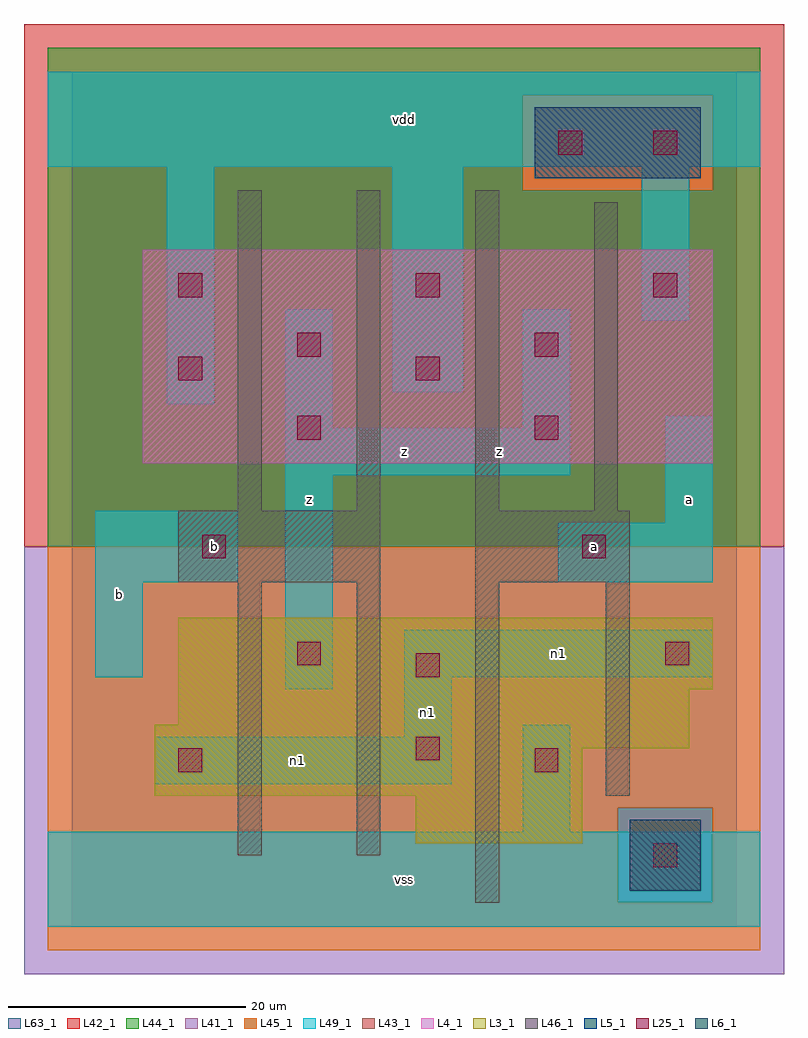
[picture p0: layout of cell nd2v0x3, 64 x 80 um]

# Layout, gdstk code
import gdstk
lib = gdstk.Library(unit=1e-6, precision=1e-09)
def R(c, l, rs):  # rectangles x0, y0, x1, y1
    for r in rs: c.add(gdstk.rectangle(r[:2], r[2:], *l))
def A(c, l, x, y, w, h, nx, ny, dx, dy):  # array of equal rectangles
    R(c, l, [(x+i*dx, y+j*dy, x+i*dx+w, y+j*dy+h) for i in range(nx) for j in range(ny)])
L3_1 = (3, 1)
L4_1 = (4, 1)
L5_1 = (5, 1)
L6_1 = (6, 1)
L25_1 = (25, 1)
L41_1 = (41, 1)
L42_1 = (42, 1)
L43_1 = (43, 1)
L44_1 = (44, 1)
L45_1 = (45, 1)
L46_1 = (46, 1)
L49_1 = (49, 1)
L63_1 = (63, 1)

nd2v0x3 = lib.new_cell('nd2v0x3')
R(nd2v0x3, L3_1, [(29,7,43,11), (7,11,43,15), (7,15,52,17), (9,17,52,20), (9,20,54,26)])
R(nd2v0x3, L4_1, [(6,39,54,57)])
R(nd2v0x3, L5_1, [(39,63,53,69)])
R(nd2v0x3, L6_1, [(47,3,53,9), (47,3,53,9)])
A(nd2v0x3, L25_1, 9, 53, 2, 2, 3, 1, 20, 0)
R(nd2v0x3, L25_1, [(49,5,51,7), (9,13,11,15), (39,13,41,15), (29,14,31,16), (29,21,31,23), (19,22,21,24), (50,22,52,24), (11,31,13,33), (43,31,45,33), (19,41,21,43), (39,41,41,43), (9,46,11,48), (29,46,31,48), (19,48,21,50), (39,48,41,50), (41,65,43,67), (49,65,51,67)])
R(nd2v0x3, L41_1, [(-4,-4,60,32)])
R(nd2v0x3, L42_1, [(-4,32,60,76)])
R(nd2v0x3, L43_1, [(47,3,53,9), (29,7,43,11), (7,11,43,15), (7,15,52,17), (9,17,52,20), (9,20,54,26), (6,39,54,57), (39,63,53,69)])
R(nd2v0x3, L44_1, [(46,2,54,10), (-2,32,58,62), (-2,62,38,70), (54,62,58,70), (-2,70,58,74)])
R(nd2v0x3, L45_1, [(-2,-2,58,2), (-2,2,46,10), (54,2,58,10), (-2,10,58,32), (38,62,54,70)])
A(nd2v0x3, L46_1, 14, 35, 2, 27, 3, 1, 10, 0)
R(nd2v0x3, L46_1, [(34,2,36,29), (14,6,16,29), (24,6,26,29), (45,11,47,29), (9,29,26,35), (34,29,47,35), (44,35,46,61)])
R(nd2v0x3, L49_1, [(-2,0,58,8), (38,8,42,17), (7,12,32,16), (28,16,32,21), (18,20,22,38), (2,21,6,29), (28,21,54,25), (2,29,14,35), (41,29,54,34), (50,34,54,43), (18,38,42,42), (18,42,22,52), (38,42,42,52), (8,44,12,64), (27,45,33,64), (48,51,52,64), (-2,64,58,72)])
R(nd2v0x3, L63_1, [(0,0,56,72)])
nd2v0x3.add(gdstk.Label('b', (4,28), layer=49, texttype=1))
nd2v0x3.add(gdstk.Label('b', (12,32), layer=49, texttype=1))
nd2v0x3.add(gdstk.Label('z', (20,36), layer=49, texttype=1))
nd2v0x3.add(gdstk.Label('vss', (28,4), layer=49, texttype=1))
nd2v0x3.add(gdstk.Label('n1', (19,14), layer=49, texttype=1))
nd2v0x3.add(gdstk.Label('n1', (30,18), layer=49, texttype=1))
nd2v0x3.add(gdstk.Label('z', (36,40), layer=49, texttype=1))
nd2v0x3.add(gdstk.Label('z', (28,40), layer=49, texttype=1))
nd2v0x3.add(gdstk.Label('vdd', (28,68), layer=49, texttype=1))
nd2v0x3.add(gdstk.Label('a', (44,32), layer=49, texttype=1))
nd2v0x3.add(gdstk.Label('n1', (41,23), layer=49, texttype=1))
nd2v0x3.add(gdstk.Label('a', (52,36), layer=49, texttype=1))

lib.write_gds('nd2v0x3.gds')
